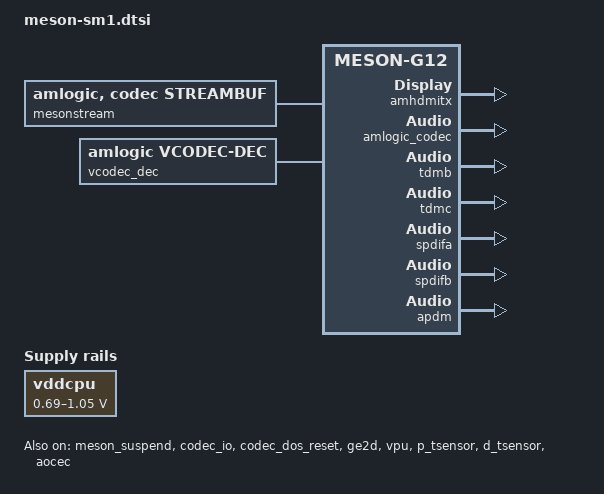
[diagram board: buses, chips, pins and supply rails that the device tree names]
// SPDX-License-Identifier: (GPL-2.0+ OR MIT)
/*
 * Copyright (c) 2019 Amlogic, Inc. All rights reserved.
 */

#include "meson-g12-common.dtsi"
#include <dt-bindings/power/meson-sm1-power.h>
#include <dt-bindings/clock/amlogic,sm1-audio-clk.h>

/ {
	compatible = "amlogic,sm1";

	cpus {
		#address-cells = <0x1>;
		#size-cells = <0x0>;

		cpu0: cpu@0 {
			device_type = "cpu";
			compatible = "arm,cortex-a55";
			reg = <0x0>;
			enable-method = "psci";
			next-level-cache = <&l2>;
			dynamic-power-coefficient = <125>;
			#cooling-cells = <2>;
		};

		cpu1: cpu@1 {
			device_type = "cpu";
			compatible = "arm,cortex-a55";
			reg = <0x1>;
			enable-method = "psci";
			next-level-cache = <&l2>;
			dynamic-power-coefficient = <125>;
			#cooling-cells = <2>;
		};

		cpu2: cpu@2 {
			device_type = "cpu";
			compatible = "arm,cortex-a55";
			reg = <0x2>;
			enable-method = "psci";
			next-level-cache = <&l2>;
			dynamic-power-coefficient = <125>;
			#cooling-cells = <2>;
		};

		cpu3: cpu@3 {
			device_type = "cpu";
			compatible = "arm,cortex-a55";
			reg = <0x3>;
			enable-method = "psci";
			next-level-cache = <&l2>;
			dynamic-power-coefficient = <125>;
			#cooling-cells = <2>;
		};

		l2: l2-cache0 {
			compatible = "cache";
		};
	};

	meson_suspend:pm {
		compatible = "amlogic, pm";
		status = "okay";
		device_name = "aml_pm";
		reg = <0xff8000a8 0x4>,
			<0xff80023c 0x4>;
	};

	vddcpu: regulator-vddcpu {
		compatible = "pwm-regulator";
		pwms = <&pwm_AO_cd 1 1500 0>;
		regulator-name = "vddcpu0";
		regulator-min-microvolt = <690000>;
		regulator-max-microvolt = <1050000>;
		regulator-always-on;
		max-duty-cycle = <1500>;
		/* Voltage Duty-Cycle */
		voltage-table = <1050000 0>,
			<1040000 3>,
			<1030000 6>,
			<1020000 8>,
			<1010000 11>,
			<1000000 14>,
			<990000 17>,
			<980000 20>,
			<970000 23>,
			<960000 26>,
			<950000 29>,
			<940000 31>,
			<930000 34>,
			<920000 37>,
			<910000 40>,
			<900000 43>,
			<890000 45>,
			<880000 48>,
			<870000 51>,
			<860000 54>,
			<850000 56>,
			<840000 59>,
			<830000 62>,
			<820000 65>,
			<810000 68>,
			<800000 70>,
			<790000 73>,
			<780000 76>,
			<770000 79>,
			<760000 81>,
			<750000 84>,
			<740000 87>,
			<730000 89>,
			<720000 92>,
			<710000 95>,
			<700000 98>,
			<690000 100>;
		status = "okay";
	};

	efuse: efuse {
		compatible = "amlogic, efuse";
		read_cmd = <0x82000030>;
		write_cmd = <0x82000031>;
		get_max_cmd = <0x82000033>;
		mem_in_base_cmd = <0x82000020>;
		mem_out_base_cmd = <0x82000021>;
		key = <&efusekey>;
		clocks = <&clkc CLKID_EFUSE>;
		clock-names = "efuse_clk";
		status = "disabled";
	};

	efusekey: efusekey {
		keynum = <4>;
		key0 = <&key_0>;
		key1 = <&key_1>;
		key2 = <&key_2>;
		key3 = <&key_3>;

		key_0: key_0 {
			keyname = "mac";
			offset = <0>;
			size = <6>;
		};
		key_1: key_1 {
			keyname = "mac_bt";
			offset = <6>;
			size = <6>;
		};
		key_2: key_2 {
			keyname = "mac_wifi";
			offset = <12>;
			size = <6>;
		};
		key_3: key_3 {
			keyname = "usid";
			offset = <18>;
			size = <16>;
		};
	};

	amlogic_unifykey: unifykey{
		compatible = "amlogic,unifykey";
		status = "okay";

		unifykey-num = <16>;

		key_0{
			key-name = "usid";
			key-device = "normal";
			key-permit = "read","write";
		};
		key_1{
			key-name = "mac";
			key-device = "normal";
			key-permit = "read","write";
		};
		key_2{
			key-name = "hdcp";
			key-device = "secure";
			key-type = "sha1";
			key-permit = "read","write";
		};
		key_3{
			key-name = "secure_boot_set";
			key-device = "efuse";
			key-permit = "write";
		};
		key_4{
			key-name = "mac_bt";
			key-device = "normal";
			key-permit = "read","write";
			key-type  = "mac";
		};
		key_5{
			key-name = "mac_wifi";
			key-device = "normal";
			key-permit = "read","write";
			key-type = "mac";
		};
		key_6{
			key-name = "hdcp2_tx";
			key-device = "normal";
			key-permit = "read","write";
		};
		key_7{
			key-name = "hdcp2_rx";
			key-device = "normal";
			key-permit = "read","write";
		};
		key_8{
			key-name = "widevinekeybox";
			key-device = "secure";
			key-permit = "read","write";
		};
		key_9{
			key-name = "deviceid";
			key-device = "normal";
			key-permit = "read","write";
		};
		key_10{
			key-name = "hdcp22_fw_private";
			key-device = "secure";
			key-permit = "read","write";
		};
		key_11{
			key-name = "PlayReadykeybox25";
			key-device = "secure";
			key-permit = "read","write";
		};
		key_12{
			key-name = "prpubkeybox";// PlayReady
			key-device = "secure";
			key-permit = "read","write";
		};
		key_13{
			key-name = "prprivkeybox";// PlayReady
			key-device = "secure";
			key-permit = "read","write";
		};
		key_14{
			key-name = "attestationkeybox";// attestation key
			key-device = "secure";
			key-permit = "read","write";
		};
		key_15{
			key-name = "region_code";
			key-device = "normal";
			key-permit = "read","write";
		};
	};//End unifykey

	dmc_monitor {
		compatible = "amlogic,dmc_monitor-sm1";
		status = "okay";
		reg_base = <0xff639000>;
		interrupts = <GIC_SPI 51 IRQ_TYPE_EDGE_RISING>;
	};

	mesonstream {
		compatible = "amlogic, codec, streambuf";
		dev_name = "mesonstream";
		status = "okay";
		clocks = <&clkc CLKID_PARSER
			&clkc CLKID_DEMUX
			&clkc CLKID_AHB_ARB0
			&clkc CLKID_DOS
			&clkc CLKID_CLK81
			&clkc CLKID_VDEC_MUX
			&clkc CLKID_HCODEC_MUX
			&clkc CLKID_HEVC_MUX
			&clkc CLKID_HEVCF_MUX>;
		clock-names = "parser_top",
			"demux",
			"ahbarb0",
			"vdec",
			"clk_81",
			"clk_vdec_mux",
			"clk_hcodec_mux",
			"clk_hevc_mux",
			"clk_hevcb_mux";
	};

	vdec {
		compatible = "amlogic, vdec";
		dev_name = "vdec.0";
		status = "okay";
		interrupts = <0 3 1
			0 23 1
			0 32 1
			0 43 1
			0 44 1
			0 45 1
			0 72 1>;
		interrupt-names = "vsync",
			"demux",
			"parser",
			"mailbox_0",
			"mailbox_1",
			"mailbox_2",
			"parser_b";
	};

	vcodec_dec {
		compatible = "amlogic, vcodec-dec";
		dev_name = "aml-vcodec-dec";
		status = "okay";
	};

	mailbox: mhu@ff63c400 {
		compatible = "amlogic, meson_mhu";
		reg = <0xff63c400 0x4c>,   /* MHU registers */
		      <0xfffe7000 0x800>;   /* Payload area */
		interrupts = <GIC_SPI 209 IRQ_TYPE_EDGE_RISING>, /* cm3 low*/
			     <GIC_SPI 210 IRQ_TYPE_EDGE_RISING>, /* cm4 rx */
			     <GIC_SPI 213 IRQ_TYPE_EDGE_RISING>;   /* cm4 tx */
		#mbox-cells = <1>;
		mbox-names = "cpu_to_scp_low", "bl4_to_cpu", "cpu_to_bl4";
		mboxes = <&mailbox 0 &mailbox 1 &mailbox 2>;
		num-chans-to-scp = <1>;  /*number of chans to send m3*/
		send-isr-bits = <5>;     /*BIT(idx) of isr listen when ap send*/
		ack-isr-bits = <4>;      /*BIT(idx) of ack isr*/
		m4-isr-bits = <6>;       /*BIT(idx) of m4 isr*/
		mbox-chans = <3>;        /*chan number*/
	};

	codec_io: codec_io {
		compatible = "amlogic, meson-sm1, codec-io";
		status = "okay";
		#address-cells=<1>;
		#size-cells=<1>;
		ranges;
		reg =	<0xffd00000 0x100000>,
			<0xff620000 0x10000>,
			<0xff63c000 0x2000>,
			<0xff800000 0x10000>,
			<0xff900000 0x40000>,
			<0xff638000 0x2000>,
			<0xff630000 0x2000>;
		reg-names = "cbus",
			    "dosbus",
			    "hiubus",
			    "aobus",
			    "vcbus",
			    "dmcbus",
			    "efusebus";
	};

	codec_dos_reset: reset-controller@ff620000 {
		compatible = "amlogic,meson-sm1-dos-reset";
		status = "okay";
		reg = <0xff620000 0x10000>;
		#reset-cells = <1>;
	};

	meson-amvideom {
		compatible = "amlogic, amvideom";
		dev_name = "amvideom";
		status = "okay";
		interrupts = <0 3 1>;
		interrupt-names = "vsync";
	};

	power_ctrl: power_ctrl@ff8000e8 {
		compatible = "amlogic, sm1-powerctrl";
		reg = <0xff8000e8 0x10>,
		<0xff63c100 0x10>;
	};

	aml_reboot{
		compatible = "aml, reboot";
		sys_reset = <0x84000009>;
		sys_poweroff = <0x84000008>;
	};

	amvenc_avc{
		compatible = "amlogic, amvenc_avc";
		dev_name = "amvenc_avc";
		status = "okay";
		clocks = <&clkc CLKID_HCODEC_P0>;
		clock-names = "hcodec_p0";
		interrupts = <GIC_SPI 45 IRQ_TYPE_EDGE_RISING>;
		interrupt-names = "mailbox_2";
	};

	hevc_enc{
		#address-cells=<2>;
		#size-cells=<2>;
		compatible = "amlogic, HevcEnc";
		//memory-region = <&hevc_enc_reserved>;
		dev_name = "HevcEnc";
		status = "okay";
		interrupts = <GIC_SPI 187 IRQ_TYPE_EDGE_RISING>;
		interrupt-names = "wave420l_irq";
		ranges;
		clocks = <&clkc CLKID_WAVE_A_CLK
			&clkc CLKID_WAVE_B_CLK
			&clkc CLKID_WAVE_C_CLK>;
		clock-names = "wave_clk_a",
			"wave_clk_b",
			"wave_clk_c";
		io_reg_base{
			reg = <0x0 0xff610000 0x0 0x4000>;
		};
	};

	ge2d {
		compatible = "amlogic, ge2d-sm1";
		dev_name = "ge2d";
		status = "okay";
		interrupts = <GIC_SPI 146 IRQ_TYPE_EDGE_RISING>;
		interrupt-names = "ge2d";
		clocks = <&clkc CLKID_VAPB_SEL>,
			<&clkc CLKID_G2D>,
			<&clkc CLKID_VAPB>;
		clock-names = "clk_vapb_0",
			"clk_ge2d",
			"clk_ge2d_gate";
		reg = <0xff940000 0x10000>;
	};

	video_composer {
		compatible = "amlogic, video_composer";
		dev_name = "video_composer";
		status = "okay";
	};

	ionvideo {
		compatible = "amlogic, ionvideo";
		status = "okay";
	};

	amlvideo2_0 {
		compatible = "amlogic, amlvideo2";
		dev_name = "amlvideo2";
		status = "okay";
		amlvideo2_id = <0>;
		cma_mode = <1>;
	};

	amlvideo2_1 {
		compatible = "amlogic, amlvideo2";
		dev_name = "amlvideo2";
		status = "okay";
		amlvideo2_id = <1>;
		cma_mode = <1>;
	};

	fb: fb {
		compatible = "amlogic, fb-sm1";
		memory-region = <&logo_reserved>;
		dev_name = "meson-fb";
		status = "disable";
		interrupts = <GIC_SPI 3 IRQ_TYPE_EDGE_RISING
			GIC_SPI 56 IRQ_TYPE_EDGE_RISING
			GIC_SPI 89 IRQ_TYPE_EDGE_RISING>;
		interrupt-names = "viu-vsync", "viu2-vsync", "rdma";
		/* uboot logo,fb0/fb1 memory size,if afbcd fb0=0x01851000*/
		display_mode_default = "1080p60hz";
		scale_mode = <1>;
		/** 0:VPU free scale 1:OSD free scale 2:OSD super scale */
		display_size_default = <1920 1080 1920 2160 32>;
		/*1920*1080*4*3 = 0x17BB000*/
		clocks = <&clkc CLKID_VPU_CLKC_MUX>;
		clock-names = "vpu_clkc";
	};

	amhdmitx: amhdmitx{
		compatible = "amlogic, amhdmitx-sm1";
		dev_name = "amhdmitx";
		status = "okay";
		vend-data = <&vend_data>;
		pinctrl-names="default", "hdmitx_i2c";
		pinctrl-0=<&hdmitx_hpd_pins &hdmitx_ddc_pins>;
		pinctrl-1=<&hdmitx_hpd_gpio &i2c3_sda_h_pins>;
		clocks = <&clkc CLKID_VCLK2_ENCI
			&clkc CLKID_VCLK2_VENCI0
			&clkc CLKID_VCLK2_VENCI1
			&clkc CLKID_VAPB_SEL
			&clkc CLKID_VPU>;
		clock-names = "venci_top_gate",
			"venci_0_gate",
			"venci_1_gate",
			"hdmi_vapb_clk",
			"hdmi_vpu_clk";
		/* HPD, 57 + 32 = 89; CEC, 151 + 32 = 183*/
		interrupts = <GIC_SPI 57 IRQ_TYPE_EDGE_RISING
			GIC_SPI 3 IRQ_TYPE_EDGE_RISING>;
		interrupt-names = "hdmitx_hpd", "viu1_vsync";
		/* 0:M8B 1:GXBB 2:GXTVBB 3:GXL 4:GXM
		 * 5:TXL 6:TXLX 7:AXG 8:GXLX 9:TXHD
		 * 10:G12A 11:G12B 12:SM1
		 */
		ic_type = <12>;
		reg =	<0xffd00000 0x100000>,
			<0xff900000 0x40000>,
			<0xff63c000 0x2000>,
			<0xff608000 0x8000>,
			<0xff600000 0x8000>,
			<0xffe01000 0x100>;
		reg-names = "cbus",
			    "vcbus",
			    "hiubus",
			    "hdmitxsec",
			    "hdmitx",
			    "esm";

		vend_data: vend_data{ /* Should modified by Customer */
			vendor_name = "Amlogic"; /* Max Chars: 8 */
			product_desc = "MBox Meson Ref"; /* Max Chars: 16 */
			/* standards.ieee.org/develop/regauth/oui/oui.txt */
			vendor_id = <0x000000>;
		};
	};

	vout: vout {
		compatible = "amlogic, vout";
		status = "okay";

		/* fr_policy:
		 *    0: disable
		 *    1: nearby (only for 60->59.94 and 30->29.97)
		 *    2: force (60/50/30/24/59.94/23.97)
		 */
		fr_policy = <2>;
	};

	vout2: vout2 {
		compatible = "amlogic, vout2";
		status = "okay";
		clocks = <&clkc CLKID_VPU_CLKC_P0>,
			<&clkc CLKID_VPU_CLKC_MUX>;
		clock-names = "vpu_clkc0",
			"vpu_clkc";
		/* fr_policy:
		 *    0: disable
		 *    1: nearby (only for 60->59.94 and 30->29.97)
		 *    2: force (60/50/30/24/59.94/23.97)
		 */
		fr_policy = <2>;
	};

	vpu: vpu {
		compatible = "amlogic, vpu-sm1";
		status = "okay";
		reg =	<0xff63c000 0x200  /* hiu */
			 0xff900000 0x50000 /* vcbus */
			 0xffd00000 0x10a0  /* cbus */
			 0xff800000 0x100>; /* aobus */
		clocks = <&clkc CLKID_VAPB_SEL>,
			<&clkc CLKID_VPU_INTR>,
			<&clkc CLKID_VPU_0>,
			<&clkc CLKID_VPU_1>,
			<&clkc CLKID_VPU>;
		clock-names =	"vapb_clk",
				"vpu_intr_gate",
				"vpu_clk0",
				"vpu_clk1",
				"vpu_clk";
		clk_level = <7>;
		/* 0: 100.0M    1: 166.7M    2: 200.0M    3: 250.0M */
		/* 4: 333.3M    5: 400.0M    6: 500.0M    7: 666.7M */
	};

	meson_videotunnel{
		compatible = "amlogic, meson_videotunnel";
		status = "okay";
	};

	aml_bt: aml_bt {
		compatible = "amlogic, aml-bt";
		status = "okay";
	};

	aml_wifi: aml_wifi {
		compatible = "amlogic, aml-wifi";
		status = "disabled";
		irq_trigger_type = "GPIO_IRQ_LOW";
		dhd_static_buf; //if use bcm wifi, config dhd_static_buf
		//pinctrl-0 = <&pwm_e_pins>;
		//pinctrl-names = "default";
		pwm_config = <&wifi_pwm_conf>;
	};

	wifi_pwm_conf:wifi_pwm_conf{
		pwm_channel1_conf {
			pwms = <&pwm_ef 0 30550 0>;
			duty-cycle = <15270>;
			times = <8>;
		};
		pwm_channel2_conf {
			pwms = <&pwm_ef 2 30500 0>;
			duty-cycle = <15250>;
			times = <12>;
		};
	};

	p_tsensor: p_tsensor@ff634800 {
		compatible = "amlogic, r1p1-tsensor";
		status = "okay";
		reg = <0xff634800 0x50>,
			<0xff800268 0x4>;
		cal_type = <0x1>;
		cal_coeff = <324 424 3159 9411>;
		rtemp = <115000>;
		interrupts = <GIC_SPI 35 IRQ_TYPE_LEVEL_HIGH>;
		clocks = <&clkc CLKID_TS>; /* CLKID_TS_COMP>;*/
		clock-names = "ts_comp";
		#thermal-sensor-cells = <1>;
	};

	d_tsensor: d_tsensor@ff634c00 {
		compatible = "amlogic, r1p1-tsensor";
		status = "okay";
		reg = <0xff634c00 0x50>,
			<0xff800230 0x4>;
		cal_type = <0x1>;
		cal_coeff = <324 424 3159 9411>;
		rtemp = <115000>;
		interrupts = <GIC_SPI 36 IRQ_TYPE_LEVEL_HIGH>;
		clocks = <&clkc CLKID_TS>; /* CLKID_TS_COMP>;*/
		clock-names = "ts_comp";
		#thermal-sensor-cells = <1>;
	};

	meson_cooldev: meson-cooldev@0 {
		status = "okay";
		compatible = "amlogic, meson-cooldev";
		cooling_devices {
			cpucore_cool_cluster0 {
				cluster_id = <0>;
				device_type = "cpucore";
				node_name = "cpucore0";
			};
			gpufreq_cool {
				dyn_coeff = <215>;
				device_type = "gpufreq";
				node_name = "bifrost";
			};
		};
		cpucore0:cpucore0 {
			#cooling-cells = <2>;
		};
	};

	thermal-zones {
		soc_thermal: soc_thermal {
			polling-delay = <1000>;
			polling-delay-passive = <100>;
			sustainable-power = <1410>;
			thermal-sensors = <&p_tsensor 0>;
			trips {
				pswitch_on: trip-point@0 {
					temperature = <60000>;
					hysteresis = <2000>;
					type = "passive";
				};
				pcontrol: trip-point@1 {
					temperature = <75000>;
					hysteresis = <2000>;
					type = "passive";
				};
				phot: trip-point@2 {
					temperature = <85000>;
					hysteresis = <5000>;
					type = "hot";
				};
				pcritical: trip-point@3 {
					temperature = <110000>;
					hysteresis = <1000>;
					type = "critical";
				};
			};
			cooling-maps {
				cpufreq_cooling_map{
					trip = <&pcontrol>;
					cooling-device = <&cpu0 0 11>;
					contribution = <1024>;
				};
				cpucore_cooling_map{
					trip = <&pcontrol>;
					cooling-device = <&cpucore0 0 3>;
					contribution = <1024>;
				};
				gpufreq_cooling_map {
					trip = <&pcontrol>;
					cooling-device = <&gpu 0 4>;
					contribution = <1024>;
				};
			};
		};

		ddr_thermal: ddr_thermal {
			polling-delay = <2000>;
			polling-delay-passive = <250>;
			sustainable-power = <1410>;
			thermal-sensors = <&d_tsensor 1>;
			trips {
				dswitch_on: trip-point@0 {
					temperature = <60000>;
					hysteresis = <2000>;
					type = "passive";
				};
				dcontrol: trip-point@1 {
					temperature = <75000>;
					hysteresis = <2000>;
					type = "passive";
				};
				dhot: trip-point@2 {
					temperature = <85000>;
					hysteresis = <5000>;
					type = "hot";
				};
				dcritical: trip-point@3 {
					temperature = <110000>;
					hysteresis = <1000>;
					type = "critical";
				};
			};
		};
	};

	aocec: aocec {
		compatible = "amlogic, aocec-sm1";
		dev_name = "aocec";
		status = "okay";
		vendor_name = "Amlogic"; /* Max Chars: 8     */
		vendor_id = <0xffffff>;
		product_desc = "SM1"; /* Max Chars: 16    */
		cec_osd_string = "AML_MBOX"; /* Max Chars: 14    */
		cec_version = <5>;/*5:1.4;6:2.0*/
		port_num = <1>;
		output = <1>;
		cec_sel = <1>;/*1:use one ip, 2:use 2 ip*/
		ee_cec;
		arc_port_mask = <0x1>;
		interrupts = <GIC_SPI 203 IRQ_TYPE_EDGE_RISING
				GIC_SPI 199 IRQ_TYPE_EDGE_RISING>;	/*b,a*/
		interrupt-names = "hdmi_aocecb","hdmi_aocec";
		pinctrl-names = "default","hdmitx_aocecb","cec_pin_sleep";
		pinctrl-0=<&cec_ao_a_h_pins>;
		pinctrl-1=<&cec_ao_b_h_pins>;
		pinctrl-2=<&cec_ao_b_h_pins>;
		reg = <0xFF80023c 0x4
		       0xFF800000 0x400
		       0xFF634400 0x26>;
		reg-names = "ao_exit","ao","periphs";
	};

	vdac: vdac {
		compatible = "amlogic, vdac-sm1";
		status = "okay";
	};
};

&soc {
	dummy_codec:dummy{
		#sound-dai-cells = <0>;
		compatible = "amlogic, aml_dummy_codec";
	};

	amlogic_codec:t9015{
		#sound-dai-cells = <0>;
		compatible = "amlogic, aml_codec_T9015";
		reg = <0xFF632000 0x2000>;
		tocodec_inout = <1>;
		tdmout_index = <1>;
		ch0_sel = <0>;
		ch1_sel = <1>;
		reset-names = "acodec";
		resets = <&reset RESET_AUDIO_CODEC>;
	};

	audiobus: audiobus@0xFF660000 {
		compatible = "amlogic, audio-controller", "simple-bus";
		reg = <0xFF660000 0x3000>;
		#address-cells = <1>;
		#size-cells = <1>;
		ranges = <0x0 0xFF660000 0x3000>;
		chip_id = <0x2B>;
		clkaudio: audio_clocks {
			compatible = "amlogic, sm1-audio-clocks";
			#clock-cells = <1>;
			reg = <0x0 0x0 0x0 0xb0>;
		};
		ddr_manager {
			compatible = "amlogic, sm1-audio-ddr-manager";
			interrupts = <
				GIC_SPI 148 IRQ_TYPE_EDGE_RISING
				GIC_SPI 149 IRQ_TYPE_EDGE_RISING
				GIC_SPI 150 IRQ_TYPE_EDGE_RISING
				GIC_SPI 49 IRQ_TYPE_EDGE_RISING
				GIC_SPI 152 IRQ_TYPE_EDGE_RISING
				GIC_SPI 153 IRQ_TYPE_EDGE_RISING
				GIC_SPI 154 IRQ_TYPE_EDGE_RISING
				GIC_SPI 50 IRQ_TYPE_EDGE_RISING
			>;
			interrupt-names =
				"toddr_a", "toddr_b", "toddr_c",
				"toddr_d",
				"frddr_a", "frddr_b", "frddr_c",
				"frddr_d";
		};

		tdma: tdm@0 {
			compatible = "amlogic, sm1-snd-tdma";
			#sound-dai-cells = <0>;
			dai-tdm-lane-slot-mask-in = <0 1>;
			dai-tdm-lane-slot-mask-out = <1 0>;
			dai-tdm-clk-sel = <0>;
			clocks = <&clkaudio CLKID_AUDIO_MCLK_A
					&clkc CLKID_MPLL0>;
			clock-names = "mclk", "clk_srcpll";
			//pinctrl-names = "tdm_pins";
			//pinctrl-0 = <&tdmout_a &tdmin_a>;
		};

		tdmb: tdm@1 {
			compatible = "amlogic, sm1-snd-tdmb";
			#sound-dai-cells = <0>;
			dai-tdm-lane-slot-mask-in = <0 1 0 0>;
			dai-tdm-lane-slot-mask-out = <1 0 0 0>;
			//dai-tdm-lane-slot-mask-in = <0 0 0 0 0 0 0 0>;
			//dai-tdm-lane-slot-mask-out = <1 1 1 1 1 1 1 1>;
			dai-tdm-clk-sel = <1>;
			clocks = <&clkaudio CLKID_AUDIO_MCLK_B
					&clkc CLKID_MPLL1
					&clkc CLKID_MPLL0
					&clkaudio CLKID_AUDIO_SPDIFOUT_A>;
			clock-names = "mclk", "clk_srcpll",
				"samesource_srcpll", "samesource_clk";
			pinctrl-names = "tdm_pins";
			/*pinctrl-0 = <&tdmb_mclk &tdmout_b &tdmin_b>;*/
			//pinctrl-0 = < &tdmout_b &tdmin_b>;
			//mclk_pad = <0>;  /* 0: mclk_0; 1: mclk_1 */

			/*
			 * 0: tdmout_a;
			 * 1: tdmout_b;
			 * 2: tdmout_c;
			 * 3: spdifout;
			 * 4: spdifout_b;
			 */
			samesource_sel = <3>;

			/*enable default mclk(12.288M)*/
			start_clk_enable = <1>;

			/*tdm clk tuning enable*/
			clk_tuning_enable = <1>;
		};

		tdmc: tdm@2 {
			compatible = "amlogic, sm1-snd-tdmc";
			#sound-dai-cells = <0>;
			dai-tdm-lane-slot-mask-in = <1 0 0 0>;
			#dai-tdm-lane-slot-mask-out = <1 0 1 1>;
			#dai-tdm-lane-oe-slot-mask-in = <0 0 0 0>;
			#dai-tdm-lane-oe-slot-mask-out = <1 0 0 0>;
			dai-tdm-clk-sel = <2>;

			clocks = <&clkaudio CLKID_AUDIO_MCLK_C
					&clkc CLKID_MPLL2>;
			clock-names = "mclk", "clk_srcpll";
			//pinctrl-names = "tdm_pins";
			//pinctrl-0 = <&tdmc_mclk &tdmout_c &tdmin_c>;
			mclk_pad = <0>;  /* 0: mclk_0; 1: mclk_1 */

			status = "okay";
		};

		spdifa: spdif@0 {
			compatible = "amlogic, sm1-snd-spdif-a";
			#sound-dai-cells = <0>;
			clocks = <&clkc CLKID_MPLL0
					&clkc CLKID_FCLK_DIV4
					&clkaudio CLKID_AUDIO_GATE_SPDIFIN
					&clkaudio CLKID_AUDIO_GATE_SPDIFOUT_A
					&clkaudio CLKID_AUDIO_SPDIFIN
					&clkaudio CLKID_AUDIO_SPDIFOUT_A>;
			clock-names = "sysclk", "fixed_clk", "gate_spdifin",
				"gate_spdifout", "clk_spdifin", "clk_spdifout";
			interrupts =
					<GIC_SPI 151 IRQ_TYPE_EDGE_RISING>;

			interrupt-names = "irq_spdifin";
			//pinctrl-names = "spdif_pins";
			//pinctrl-0 = <&spdifout>;/* bob remove &spdifin*/

			/*spdif clk tuning enable*/
			clk_tuning_enable = <1>;

			status = "okay";
		};
		spdifb: spdif@1 {
			compatible = "amlogic, sm1-snd-spdif-b";
			#sound-dai-cells = <0>;
			clocks = <&clkc CLKID_MPLL0 /*CLKID_HIFI_PLL*/
					&clkaudio CLKID_AUDIO_GATE_SPDIFOUT_B
					&clkaudio CLKID_AUDIO_SPDIFOUT_B>;
			clock-names = "sysclk",
					"gate_spdifout", "clk_spdifout";

			status = "okay";
		};
		apdm: pdm {
			compatible = "amlogic, sm1-snd-pdm";
			#sound-dai-cells = <0>;

			clocks = <&clkaudio CLKID_AUDIO_GATE_PDM
				&clkc CLKID_FCLK_DIV3
				&clkc CLKID_MPLL3
				&clkaudio CLKID_AUDIO_PDMIN0
				&clkaudio CLKID_AUDIO_PDMIN1>;
			clock-names = "gate",
				"sysclk_srcpll",
				"dclk_srcpll",
				"pdm_dclk",
				"pdm_sysclk";

			pinctrl-names = "pdm_pins";
			pinctrl-0 = <&pdm_din0_z_pins
					&pdm_din1_z_pins
					&pdm_din2_z_pins
					&pdm_din3_z_pins
					&pdm_dclk_z_pins>;

			/* mode 0~4, defalut:1 */
			filter_mode = <1>;

			status = "okay";
		};

		earc {
			compatible = "amlogic, sm1-snd-earc";
			#sound-dai-cells = <0>;

			clocks = <&clkaudio CLKID_AUDIO_GATE_EARCRX
				&clkaudio CLKID_EARCRX_CMDC
				&clkaudio CLKID_EARCRX_DMAC
				&clkc CLKID_FCLK_DIV5
				&clkc CLKID_FCLK_DIV3
				>;
			clock-names = "rx_gate",
				"rx_cmdc",
				"rx_dmac",
				"rx_cmdc_srcpll",
				"rx_dmac_srcpll";

			interrupts = <
				GIC_SPI 88 IRQ_TYPE_EDGE_RISING
				GIC_SPI 87 IRQ_TYPE_EDGE_RISING
			>;
			interrupt-names = "rx_cmdc", "rx_dmac";

			status = "okay";
		};

		asrca: resample@0 {
			compatible = "amlogic, sm1-resample";
			clocks = <&clkc CLKID_MPLL3
					&clkaudio CLKID_AUDIO_MCLK_F
					&clkaudio CLKID_AUDIO_RESAMPLE_A>;
			clock-names = "resample_pll",
				"resample_src", "resample_clk";
			/*same with toddr_src
			 *	TDMIN_A, 0
			 *	TDMIN_B, 1
			 *	TDMIN_C, 2
			 *	SPDIFIN, 3
			 *	PDMIN,  4
			 *	NONE,
			 *	TDMIN_LB, 6
			 *	LOOPBACK, 7
			 */
			resample_module = <4>;
			status = "disabled";
		};

		vad:vad {
			compatible = "amlogic, snd-vad";
			#sound-dai-cells = <0>;

			clocks = <&clkaudio CLKID_AUDIO_GATE_TOVAD
				&clkc CLKID_FCLK_DIV5
				&clkaudio CLKID_AUDIO_VAD>;
			clock-names = "gate", "pll", "clk";

			interrupts = <GIC_SPI 155 IRQ_TYPE_EDGE_RISING
					GIC_SPI 48 IRQ_TYPE_EDGE_RISING>;
			interrupt-names = "irq_wakeup", "irq_frame_sync";

			/*
			 * Data src sel:
			 * 0: tdmin_a;
			 * 1: tdmin_b;
			 * 2: tdmin_c;
			 * 3: spdifin;
			 * 4: pdmin;
			 * 5: loopback_b;
			 * 6: tdmin_lb;
			 * 7: loopback_a;
			 */
			src = <4>;

			/*
			 * deal with hot word in user space or kernel space
			 * 0: in user space
			 * 1: in kernel space
			 */
			level = <1>;

			status = "okay";
		};

		loopbacka:loopback@0 {
			compatible = "amlogic, sm1-loopbacka";
			#sound-dai-cells = <0>;

			clocks = <&clkaudio CLKID_AUDIO_GATE_PDM
				&clkc CLKID_FCLK_DIV3
				&clkc CLKID_MPLL3
				&clkaudio CLKID_AUDIO_PDMIN0
				&clkaudio CLKID_AUDIO_PDMIN1
				&clkc CLKID_MPLL0
				&clkaudio CLKID_AUDIO_MCLK_A>;
			clock-names = "pdm_gate",
				"pdm_sysclk_srcpll",
				"pdm_dclk_srcpll",
				"pdm_dclk",
				"pdm_sysclk",
				"tdminlb_mpll",
				"tdminlb_mclk";

			/* datain src
			 * 0: tdmin_a;
			 * 1: tdmin_b;
			 * 2: tdmin_c;
			 * 3: spdifin;
			 * 4: pdmin;
			 */
			datain_src = <4>;
			datain_chnum = <4>;
			datain_chmask = <0xf>;
			/* config which data pin for loopback */
			datain-lane-mask-in = <1 1 0 0>;

			/* calc mclk for datalb */
			mclk-fs = <256>;

			/* tdmin_lb src
			 * 0: tdmoutA
			 * 1: tdmoutB
			 * 2: tdmoutC
			 * 3: PAD_TDMINA_DIN*, refer to core pinmux
			 * 4: PAD_TDMINB_DIN*, refer to core pinmux
			 * 5: PAD_TDMINC_DIN*, refer to core pinmux
			 * 6: PAD_TDMINA_D*, oe, refer to core pinmux
			 * 7: PAD_TDMINB_D*, oe, refer to core pinmux
			 */
			/* if tdmin_lb >= 3, use external loopback */
			datalb_src = <1>;
			datalb_chnum = <2>;
			datalb_chmask = <0x3>;
			/* config which data pin as loopback */
			datalb-lane-mask-in = <1 0 0 0>;

			status = "okay";
		};

		loopbackb:loopback@1 {
			compatible = "amlogic, sm1-loopbackb";
			#sound-dai-cells = <0>;

			clocks = <&clkaudio CLKID_AUDIO_GATE_PDM
				&clkc CLKID_FCLK_DIV3
				&clkc CLKID_MPLL3
				&clkaudio CLKID_AUDIO_PDMIN0
				&clkaudio CLKID_AUDIO_PDMIN1
				&clkc CLKID_MPLL0
				&clkaudio CLKID_AUDIO_MCLK_A>;
			clock-names = "pdm_gate",
				"pdm_sysclk_srcpll",
				"pdm_dclk_srcpll",
				"pdm_dclk",
				"pdm_sysclk",
				"tdminlb_mpll",
				"tdminlb_mclk";

			/* calc mclk for datain_lb */
			mclk-fs = <256>;

			/* datain src
			 * 0: tdmin_a;
			 * 1: tdmin_b;
			 * 2: tdmin_c;
			 * 3: spdifin;
			 * 4: pdmin;
			 */
			datain_src = <4>;
			datain_chnum = <4>;
			datain_chmask = <0xf>;
			/* config which data pin for loopback */
			datain-lane-mask-in = <1 0 1 0>;

			/* tdmin_lb src
			 * 0: tdmoutA
			 * 1: tdmoutB
			 * 2: tdmoutC
			 * 3: PAD_TDMINA_DIN*, refer to core pinmux
			 * 4: PAD_TDMINB_DIN*, refer to core pinmux
			 * 5: PAD_TDMINC_DIN*, refer to core pinmux
			 * 6: PAD_TDMINA_D*, oe, refer to core pinmux
			 * 7: PAD_TDMINB_D*, oe, refer to core pinmux
			 */
			/* if tdmin_lb >= 3, use external loopback */
			datalb_src = <1>;
			datalb_chnum = <2>;
			datalb_chmask = <0x3>;
			/* config which data pin as loopback */
			datalb-lane-mask-in = <1 0 0 0>;

			status = "disabled";
		};
		aed:effect {
			compatible = "amlogic, snd-effect-v3";
			#sound-dai-cells = <0>;
			clocks = <&clkaudio CLKID_AUDIO_GATE_EQDRC
				&clkc CLKID_FCLK_DIV5
				&clkaudio CLKID_AUDIO_EQDRC>;
			clock-names = "gate", "srcpll", "eqdrc";
			/*
			 * 0:tdmout_a
			 * 1:tdmout_b
			 * 2:tdmout_c
			 * 3:spdifout
			 * 4:spdifout_b
			 */
			eqdrc_module = <1>;
			/* max 0xf, each bit for one lane, usually one lane */
			lane_mask = <0x1>;
			/* max 0xff, each bit for one channel */
			channel_mask = <0x3>;
			status = "disabled";
		};
	};/* end of audiobus*/
	demux: demux {
		compatible = "amlogic, dmx";
		status = "okay";

		interrupts = <GIC_SPI 23 IRQ_TYPE_EDGE_RISING
			GIC_SPI 5 IRQ_TYPE_EDGE_RISING
			GIC_SPI 53 IRQ_TYPE_EDGE_RISING
			GIC_SPI 19 IRQ_TYPE_EDGE_RISING
			GIC_SPI 25 IRQ_TYPE_EDGE_RISING
			GIC_SPI 18 IRQ_TYPE_EDGE_RISING
			GIC_SPI 24 IRQ_TYPE_EDGE_RISING>;
			interrupt-names = "demux0_irq",
			"demux1_irq",
			"demux2_irq",
			"dvr0_irq",
			"dvr1_irq",
			"dvrfill0_fill",
			"dvrfill1_flush";
	};
	/* eARC */
	audio_earc: bus@ff663000 {
		compatible = "simple-bus";
		reg = <0x0 0xff663000 0x0 0x1000>;
		#address-cells = <1>;
		#size-cells = <1>;
		ranges = <0x0 0xff663000 0x1000>;

		earc: earc@0 {
			compatible = "amlogic, sm1-snd-earc";
			#sound-dai-cells = <0>;

			status = "disabled";

			reg =
				<0x800 0x400>,
				<0xc00 0x200>,
				<0xe00 0x200>;
			reg-names =
				"rx_cmdc",
				"rx_dmac",
				"rx_top";

			clocks = < &clkaudio CLKID_EARCRX_CMDC
				&clkaudio CLKID_EARCRX_DMAC
				&clkc CLKID_FCLK_DIV4
				&clkc CLKID_FCLK_DIV4
				&clkaudio CLKID_EARCTX_CMDC
				&clkaudio CLKID_EARCTX_DMAC
				&clkc CLKID_FCLK_DIV4
				&clkc CLKID_MPLL1
				>;
			clock-names =
				"rx_cmdc",
				"rx_dmac",
				"rx_cmdc_srcpll",
				"rx_dmac_srcpll";

			interrupts = <
				GIC_SPI 87 IRQ_TYPE_LEVEL_HIGH>;
			interrupt-names = "earc_rx";
		};
	};

	/* Sound iomap */
	aml_snd_iomap {
		compatible = "amlogic, snd-iomap";
		status = "okay";
		#address-cells=<1>;
		#size-cells=<1>;
		ranges;
		pdm_bus {
			reg = <0xFF661000 0x400>;
		};
		audiobus_base {
			reg = <0xFF660000 0x1000>;
		};
		audiolocker_base {
			reg = <0xFF661400 0x400>;
		};
		eqdrc_base {
			reg = <0xFF662000 0x1000>;
		};
		vad_base {
			reg = <0xFF661800 0x400>;
		};
		resampleA_base {
			reg = <0xFF661c00 0x104>;
		};
		resampleB_base {
			reg = <0xFF664000 0x104>;
		};
	};
};

&clk_msr {
	compatible = "amlogic,meson-sm1-clk-measure";
};

&clkc {
	compatible = "amlogic,sm1-clkc";
};

&ethmac {
	power-domains = <&pwrc PWRC_SM1_ETH_ID>;
};

&pwrc {
	compatible = "amlogic,meson-sm1-pwrc";
};

/*
 *&vpu {
 *	power-domains = <&pwrc PWRC_SM1_VPU_ID>;
 *};
 */

&pcie {
	compatible = "amlogic, amlogic-pcie-v2";
};

&usb2_phy_v2 {
	power-domains = <&pwrc PWRC_SM1_USB_ID>;
};

&usb3_phy_v2 {
	power-domains = <&pwrc PWRC_SM1_PCIE_ID>;
};

&usb0 {
	power-domains = <&pwrc PWRC_SM1_USB_ID>;
};

&dwc2_a {
	power-domains = <&pwrc PWRC_SM1_USB_ID>;
};

&gpio_intc {
	compatible = "amlogic,meson-sm1-gpio-intc",
		     "amlogic,meson-gpio-intc";
};

